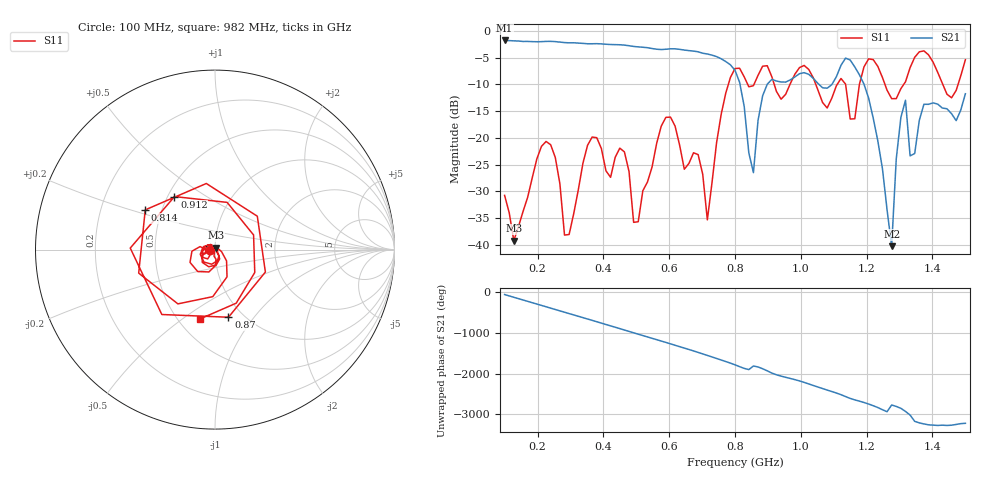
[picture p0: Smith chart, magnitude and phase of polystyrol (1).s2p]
! NanoVNA-App
! Date: 2025-09-25 17:42:38
! Start: 100MHz Stop: 1,5GHz Points: 101
! S-Parameter data: F S11 S21 S12 S22
# Hz S RI R 50
!  Frequency  S11_Real  S11_Imag  S21_Real  S21_Imag  S12_Real  S12_Imag  S22_Real  S22_Imag
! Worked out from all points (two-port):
!   101 points, 100 MHz to 1.5 GHz, reference 50 ohm
!   highest |S21| = -1.80 dB at 100 MHz (marker M1); lowest = -40.2 dB at 1.276 GHz (marker M2)
!   |S21| within 3 dB of the highest: start of sweep to 743.1 MHz
!   lowest |S11| = -39.2 dB at 128 MHz (marker M3), VSWR 1.02, Z = 50.3 + j1.05 ohm
!   |S11| at or under -10 dB: start of sweep to 779.8 MHz; 1.045 GHz to 1.111 GHz (65.19 MHz wide, 6.05 % of centre); 1.256 GHz to 1.313 GHz (57.19 MHz wide, 4.45 % of centre)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
!   S12 and S22 are empty: the file has one direction only
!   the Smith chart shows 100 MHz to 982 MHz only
!   S11 on the Smith chart (normalised r, x): 100 MHz: 0.94, -0.01; 814 MHz: 0.40, +0.22; 870 MHz: 0.85, -0.76; 912 MHz: 0.54, +0.37; 982 MHz: 0.64, -0.58
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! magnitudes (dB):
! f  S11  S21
! 100 MHz  -30.7  -1.8
! 128 MHz  -39.2  -1.9
! 212 MHz  -21.6  -2.0
! 282 MHz  -38.1  -2.2
! 338 MHz  -24.7  -2.3
! 464 MHz  -22.6  -2.7
! 506 MHz  -35.7  -3.0
! 576 MHz  -17.8  -3.5
! 716 MHz  -35.3  -4.3
! 800 MHz  -7.0  -7.4
! 814 MHz  -7.0  -9.6
! 856 MHz  -10.2  -26.5
! 870 MHz  -8.3  -16.7
! 912 MHz  -8.6  -9.1
! 982 MHz  -8.1  -8.6
! 1.038 GHz  -8.8  -8.9
! 1.164 GHz  -16.4  -6.8
! 1.192 GHz  -6.7  -10.0
! 1.276 GHz  -12.7  -40.2
! 1.318 GHz  -9.5  -13.0
! 1.332 GHz  -6.9  -23.4
! 1.5 GHz  -5.4  -11.8
